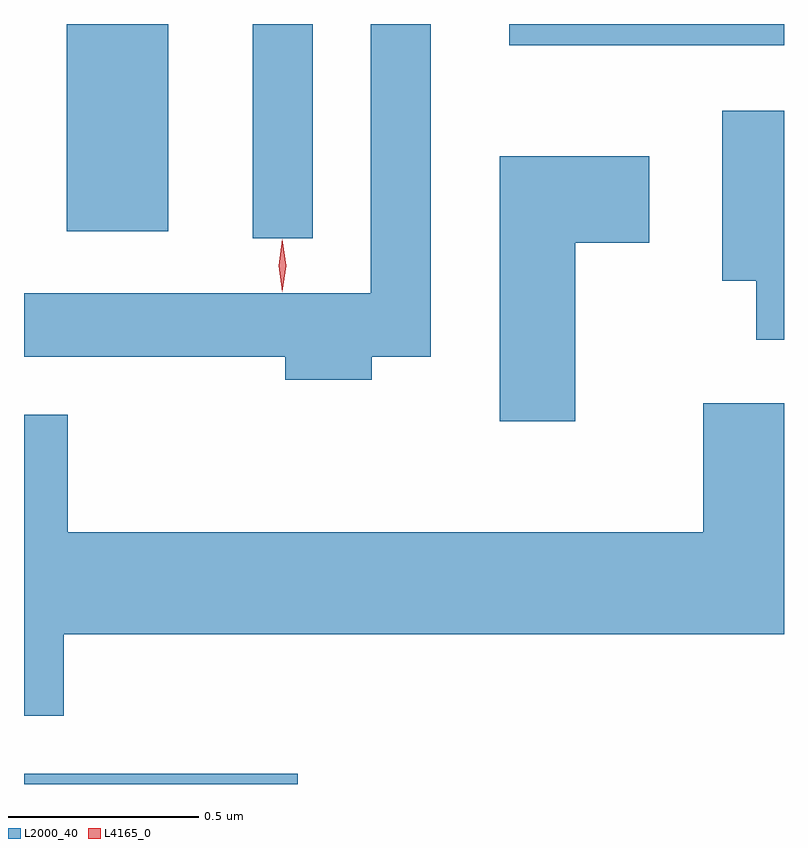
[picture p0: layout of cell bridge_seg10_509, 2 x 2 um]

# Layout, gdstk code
import gdstk
lib = gdstk.Library(unit=1e-6, precision=1e-09)
def R(c, l, rs):  # rectangles x0, y0, x1, y1
    for r in rs: c.add(gdstk.rectangle(r[:2], r[2:], *l))
def P(c, l, *ps):  # polygons
    for p in ps: c.add(gdstk.Polygon(p, *l))
L2000_40 = (2000, 40)
L4165_0 = (4165, 0)

bridge_seg10_509 = lib.new_cell('bridge_seg10_509')
R(bridge_seg10_509, L2000_40, [(899.284,2164.582,900.004,2164.609), (899.886,2166.018,900.044,2166.582), (899.396,2166.036,899.664,2166.582), (900.561,2166.526,901.284,2166.582)])
P(bridge_seg10_509, L2000_40, [(900.199,2165.706),(900.354,2165.706),(900.354,2166.582),(900.196,2166.582),(900.196,2165.874),(899.284,2165.874),(899.284,2165.706),(899.971,2165.706),(899.971,2165.646),(900.199,2165.646)],
  [(901.284,2166.354),(901.121,2166.354),(901.121,2165.906),(901.211,2165.906),(901.211,2165.751),(901.284,2165.751)],
  [(900.734,2166.006),(900.929,2166.006),(900.929,2166.234),(900.536,2166.234),(900.536,2165.536),(900.734,2165.536)],
  [(899.389,2164.976),(901.284,2164.976),(901.284,2165.584),(901.071,2165.584),(901.071,2165.244),(899.399,2165.244),(899.399,2165.554),(899.284,2165.554),(899.284,2164.761),(899.389,2164.761)])
P(bridge_seg10_509, L4165_0, [(899.964,2165.877),(899.963,2165.878),(899.954,2165.946),(899.963,2166.016),(899.964,2166.016),(899.964,2166.016),(899.974,2165.946),(899.964,2165.878)],
  [(899.964,2165.879),(899.963,2165.88),(899.954,2165.946),(899.963,2166.012),(899.964,2166.013),(899.964,2166.012),(899.974,2165.946),(899.964,2165.88)])

lib.write_gds('bridge_seg10_509.gds')
